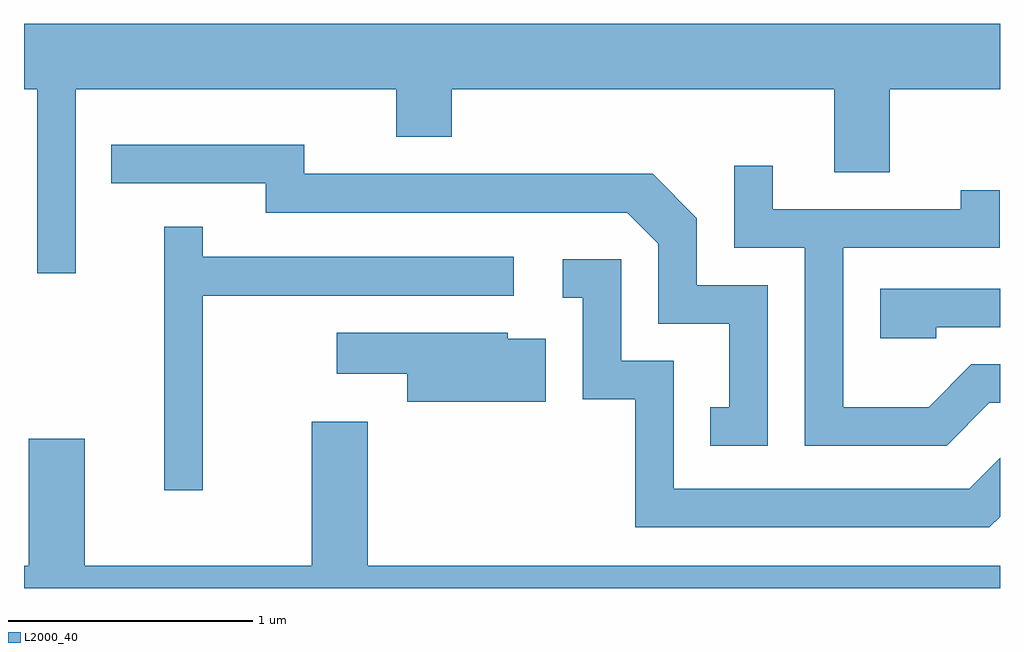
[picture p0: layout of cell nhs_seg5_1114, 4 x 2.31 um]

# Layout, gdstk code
import gdstk
lib = gdstk.Library(unit=1e-6, precision=1e-09)
def P(c, l, *ps):  # polygons
    for p in ps: c.add(gdstk.Polygon(p, *l))
L2000_40 = (2000, 40)

nhs_seg5_1114 = lib.new_cell('nhs_seg5_1114')
P(nhs_seg5_1114, L2000_40, [(217.824,1470.116),(219.136,1470.116),(219.136,1469.921),(219.364,1469.921),(219.364,1470.116),(220.931,1470.116),(220.931,1469.776),(221.159,1469.776),(221.159,1470.116),(221.611,1470.116),(221.611,1470.384),(217.611,1470.384),(217.611,1470.116),(217.666,1470.116),(217.666,1469.363),(217.824,1469.363)],
  [(220.659,1469.314),(220.369,1469.314),(220.369,1469.587),(220.187,1469.769),(218.759,1469.769),(218.759,1469.889),(217.968,1469.889),(217.968,1469.731),(218.601,1469.731),(218.601,1469.611),(220.084,1469.611),(220.211,1469.484),(220.211,1469.156),(220.501,1469.156),(220.501,1468.814),(220.423,1468.814),(220.423,1468.656),(220.659,1468.656)],
  [(221.567,1468.831),(221.611,1468.831),(221.611,1468.989),(221.494,1468.989),(221.319,1468.814),(220.969,1468.814),(220.969,1469.466),(221.609,1469.466),(221.609,1469.703),(221.451,1469.703),(221.451,1469.624),(220.679,1469.624),(220.679,1469.803),(220.521,1469.803),(220.521,1469.466),(220.811,1469.466),(220.811,1468.656),(221.392,1468.656)],
  [(218.344,1469.271),(219.618,1469.271),(219.618,1469.429),(218.344,1469.429),(218.344,1469.553),(218.186,1469.553),(218.186,1468.473),(218.344,1468.473)],
  [(221.611,1468.365),(221.611,1468.606),(221.484,1468.479),(220.274,1468.479),(220.274,1469.004),(220.059,1469.004),(220.059,1469.419),(219.818,1469.419),(219.818,1469.261),(219.901,1469.261),(219.901,1468.846),(220.116,1468.846),(220.116,1468.321),(221.567,1468.321)],
  [(221.349,1469.141),(221.611,1469.141),(221.611,1469.299),(221.121,1469.299),(221.121,1469.096),(221.349,1469.096)],
  [(219.749,1469.094),(219.594,1469.094),(219.594,1469.119),(218.893,1469.119),(218.893,1468.951),(219.181,1468.951),(219.181,1468.836),(219.749,1468.836)],
  [(221.611,1468.164),(219.019,1468.164),(219.019,1468.754),(218.791,1468.754),(218.791,1468.164),(217.859,1468.164),(217.859,1468.684),(217.631,1468.684),(217.631,1468.164),(217.611,1468.164),(217.611,1468.072),(221.611,1468.072)])

lib.write_gds('nhs_seg5_1114.gds')
